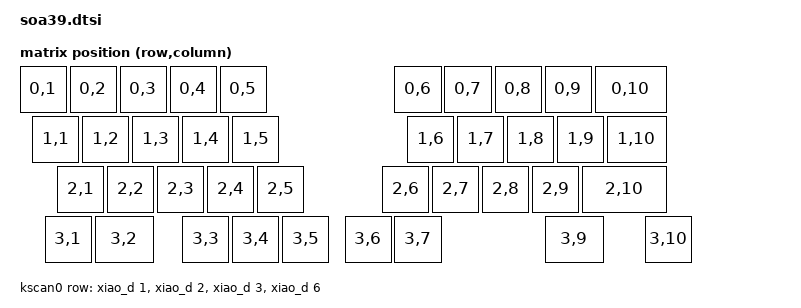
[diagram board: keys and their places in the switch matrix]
#include <dt-bindings/zmk/matrix_transform.h>
#include <dt-bindings/led/led.h>
#include <physical_layouts.dtsi>

/ {
    chosen {
        zmk,physical-layout = &soa39_physical_layout;
        zmk,battery = &non_lipo_battery;
        zmk,underglow = &led_strip;
    };

    aliases {
        indicator-led = &indicator_led;
    };


    soa39_physical_layout: soa39_physical_layout {
        compatible = "zmk,physical-layout";
        display-name = "Default";
        transform = <&default_transform>;
        kscan = <&kscan0>;

        keys  //                     w   h    x    y     rot    rx    ry
            = <&key_physical_attrs 100 100  100    0       0     0     0>
            , <&key_physical_attrs 100 100  200    0       0     0     0>
            , <&key_physical_attrs 100 100  300    0       0     0     0>
            , <&key_physical_attrs 100 100  400    0       0     0     0>
            , <&key_physical_attrs 100 100  500    0       0     0     0>
            , <&key_physical_attrs 100 100  850    0       0     0     0>
            , <&key_physical_attrs 100 100  950    0       0     0     0>
            , <&key_physical_attrs 100 100 1050    0       0     0     0>
            , <&key_physical_attrs 100 100 1150    0       0     0     0>
            , <&key_physical_attrs 150 100 1250    0       0     0     0>
            , <&key_physical_attrs 100 100  125  100       0     0     0>
            , <&key_physical_attrs 100 100  225  100       0     0     0>
            , <&key_physical_attrs 100 100  325  100       0     0     0>
            , <&key_physical_attrs 100 100  425  100       0     0     0>
            , <&key_physical_attrs 100 100  525  100       0     0     0>
            , <&key_physical_attrs 100 100  875  100       0     0     0>
            , <&key_physical_attrs 100 100  975  100       0     0     0>
            , <&key_physical_attrs 100 100 1075  100       0     0     0>
            , <&key_physical_attrs 100 100 1175  100       0     0     0>
            , <&key_physical_attrs 125 100 1275  100       0     0     0>
            , <&key_physical_attrs 100 100  175  200       0     0     0>
            , <&key_physical_attrs 100 100  275  200       0     0     0>
            , <&key_physical_attrs 100 100  375  200       0     0     0>
            , <&key_physical_attrs 100 100  475  200       0     0     0>
            , <&key_physical_attrs 100 100  575  200       0     0     0>
            , <&key_physical_attrs 100 100  825  200       0     0     0>
            , <&key_physical_attrs 100 100  925  200       0     0     0>
            , <&key_physical_attrs 100 100 1025  200       0     0     0>
            , <&key_physical_attrs 100 100 1125  200       0     0     0>
            , <&key_physical_attrs 175 100 1225  200       0     0     0>
            , <&key_physical_attrs 100 100  150  300       0     0     0>
            , <&key_physical_attrs 125 100  250  300       0     0     0>
            , <&key_physical_attrs 100 100  425  300       0     0     0>
            , <&key_physical_attrs 100 100  525  300       0     0     0>
            , <&key_physical_attrs 100 100  625  300       0     0     0>
            , <&key_physical_attrs 100 100  750  300       0     0     0>
            , <&key_physical_attrs 100 100  850  300       0     0     0>
            , <&key_physical_attrs 125 100 1150  300       0     0     0>
            , <&key_physical_attrs 100 100 1350  300       0     0     0>
            ;
    };

    default_transform: keymap_transform_0 {
        compatible = "zmk,matrix-transform";
        columns = <10>;
        rows = <4>;
        map = <
            RC(0,1) RC(0,2) RC(0,3) RC(0,4) RC(0,5)     RC(0,6) RC(0,7) RC(0,8) RC(0,9) RC(0,10)
            RC(1,1) RC(1,2) RC(1,3) RC(1,4) RC(1,5)     RC(1,6) RC(1,7) RC(1,8) RC(1,9) RC(1,10)
            RC(2,1) RC(2,2) RC(2,3) RC(2,4) RC(2,5)     RC(2,6) RC(2,7) RC(2,8) RC(2,9) RC(2,10)
            RC(3,1) RC(3,2) RC(3,3) RC(3,4) RC(3,5)     RC(3,6) RC(3,7)         RC(3,9) RC(3,10)
        >;
    };

    kscan0: kscan {
        compatible = "zmk,kscan-gpio-matrix";
        label = "KSCAN";
        diode-direction = "col2row";
        wakeup-source;
            row-gpios
                = <&xiao_d 1 (GPIO_ACTIVE_HIGH | GPIO_PULL_DOWN)>
                , <&xiao_d 2 (GPIO_ACTIVE_HIGH | GPIO_PULL_DOWN)>
                , <&xiao_d 3 (GPIO_ACTIVE_HIGH | GPIO_PULL_DOWN)>
                , <&xiao_d 6 (GPIO_ACTIVE_HIGH | GPIO_PULL_DOWN)>
                ;
    };

    trackball_listener: trackball_listener {
        compatible = "zmk,input-listener";
        status = "disabled";
    };

    // LED Power Control
    led_power: led_power {
        compatible = "zmk,ext-power-transient";
        control-gpios = <&gpio0 15 (GPIO_ACTIVE_LOW)>; // P-channel MOSFET control
        label = "LED Power Control";
    };

    // LED configuration for zmk-poor-mans-led-indicator
    leds {
        compatible = "gpio-leds";
        status = "okay";
        indicator_led: indicator_led {
            gpios = <&gpio0 15 GPIO_ACTIVE_LOW>; // P-channel MOSFET control (active low)
            label = "Status LED";
        };
    };
    
    vbatt: vbatt {
        // Disable default battery monitoring
        status = "disabled";
    };
    non_lipo_battery: non_lipo_battery {
        compatible = "zmk,non-lipo-battery";
        io-channels = <&adc 0>;
    };


};

&adc {
    status = "okay";
};


&spi0 {
    status = "disabled";

    trackball: trackball@0 {
        status = "disabled";
        reg = <0>;
    };
};

// SPI1 for WS2812 LED control
&spi1 {
    status = "okay";
    compatible = "nordic,nrf-spim";
    pinctrl-0 = <&spi1_default>;
    pinctrl-1 = <&spi1_sleep>;
    pinctrl-names = "default", "sleep";

    led_strip: ws2812@0 {
        compatible = "worldsemi,ws2812-spi";
        reg = <0>;
        spi-max-frequency = <4000000>;
        chain-length = <1>;
        spi-one-frame = <0x70>;
        spi-zero-frame = <0x40>;
        color-mapping = <LED_COLOR_ID_GREEN LED_COLOR_ID_RED LED_COLOR_ID_BLUE>;
    };
};



